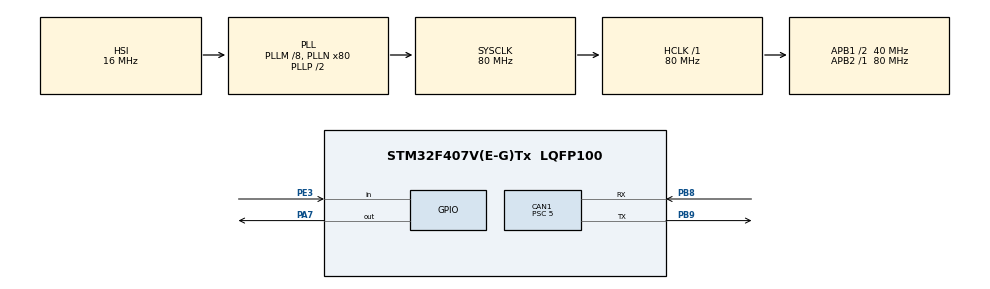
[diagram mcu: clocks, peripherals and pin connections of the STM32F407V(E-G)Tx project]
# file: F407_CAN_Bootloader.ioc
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CAN1.BS1=CAN_BS1_13TQ
CAN1.BS2=CAN_BS2_2TQ
CAN1.CalculateBaudRate=500000
CAN1.CalculateTimeBit=2000
CAN1.CalculateTimeQuantum=125.0
CAN1.NART=ENABLE
CAN1.Prescaler=5
Mcu.Family=STM32F4
Mcu.Name=STM32F407V(E-G)Tx
Mcu.Package=LQFP100
NVIC.CAN1_RX0_IRQn=true\:0\:0\:false\:false\:true\:true\:true\:true
NVIC.PriorityGroup=NVIC_PRIORITYGROUP_4
PA13.Mode=Serial_Wire
PA13.Signal=SYS_JTMS-SWDIO
PA14.Mode=Serial_Wire
PA14.Signal=SYS_JTCK-SWCLK
PA7.PinState=GPIO_PIN_SET
PA7.Signal=GPIO_Output
PB8.Mode=CAN_Activate
PB8.Signal=CAN1_RX
PB9.Mode=CAN_Activate
PB9.Signal=CAN1_TX
PE3.Signal=GPIO_Input
ProjectManager.HeapSize=0x200
ProjectManager.StackSize=0x400
ProjectManager.TargetToolchain=CMake
RCC.48MHZClocksFreq_Value=40000000
RCC.AHBFreq_Value=80000000
RCC.APB1CLKDivider=RCC_HCLK_DIV2
RCC.APB1Freq_Value=40000000
RCC.APB1TimFreq_Value=80000000
RCC.APB2Freq_Value=80000000
RCC.APB2TimFreq_Value=80000000
RCC.CortexFreq_Value=80000000
RCC.HCLKFreq_Value=80000000
RCC.HSE_VALUE=25000000
RCC.HSI_VALUE=16000000
RCC.LSE_VALUE=32768
RCC.PLLM=8
RCC.PLLN=80
RCC.SYSCLKFreq_VALUE=80000000
RCC.SYSCLKSource=RCC_SYSCLKSOURCE_PLLCLK
RCC.VCOOutputFreq_Value=160000000
board=custom

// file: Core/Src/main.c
/* USER CODE BEGIN Header */
/**
  ******************************************************************************
  * @file           : main.c
  * @brief          : Main program body
  ******************************************************************************
  * @attention
  *
  * Copyright (c) 2026 STMicroelectronics.
  * All rights reserved.
  *
  * This software is licensed under terms that can be found in the LICENSE file
  * in the root directory of this software component.
  * If no LICENSE file comes with this software, it is provided AS-IS.
  *
  ******************************************************************************
  */
/* USER CODE END Header */
#include "main.h"
#include "can.h"
#include "gpio.h"

/* USER CODE BEGIN Includes */
#include "Bootloader_can.h"
#include "Bootloader_uds.h"
/* USER CODE END Includes */

/* USER CODE BEGIN PTD */
/* 应用程序入口函数类型：无参数、无返回值 */
typedef void (*ApplicationEntryFunction)(void);
/* USER CODE END PTD */

/* USER CODE BEGIN PD */
#define APPLICATION_START_ADDRESS    0x08010000U
#define APPLICATION_END_ADDRESS      0x08060000U
#define APPLICATION_RAM_START        0x20000000U
#define APPLICATION_RAM_END          0x20020000U
/* 写入RTC备份寄存器的升级请求标志，十六进制对应ASCII字符“BOOT” */
#define BOOT_REQUEST_MAGIC           0x424F4F54U

/* USER CODE END PD */

void SystemClock_Config(void);
/* USER CODE BEGIN PFP */
static uint8_t Bootloader_IsApplicationValid(void);
static void Bootloader_JumpToApplication(void);
/* USER CODE END PFP */

int main(void)
{

  /* USER CODE BEGIN 1 */
  __HAL_RCC_PWR_CLK_ENABLE();//开启PWR外设时钟
  HAL_PWR_EnableBkUpAccess();//关闭备份域写保护，之后才允许写入备份寄存器
  uint8_t update_requested = 0U;
  if (RTC->BKP0R == BOOT_REQUEST_MAGIC) {//读取备份寄存器
    RTC->BKP0R = 0U;
    update_requested = 1U;
  }
  HAL_PWR_DisableBkUpAccess();//恢复备份域写保护，之后不允许写入备份寄存器
  /* 如果应用程序有效，就将控制权交给应用程序 */
  if (update_requested == 0U) {
     if (Bootloader_IsApplicationValid() != 0U)
    {
      Bootloader_JumpToApplication();
    }
  }

  /*
   * 如果应用程序无效，跳转函数不会执行，
   * 程序会继续向下初始化Bootloader。
   */
  /* USER CODE END 1 */

  /* MCU Configuration--------------------------------------------------------*/

  /* Reset of all peripherals, Initializes the Flash interface and the Systick. */
  HAL_Init();

  /* Configure the system clock */
  SystemClock_Config();

  /* Initialize all configured peripherals */
  MX_GPIO_Init();
  MX_CAN1_Init();
  /* USER CODE BEGIN 2 */
  if (Bootloader_CAN_Init(&hcan1) != HAL_OK)
  {
    Error_Handler();
  }
  /* USER CODE END 2 */

  /* Infinite loop */
  /* USER CODE BEGIN WHILE */
  while (1)
  {
    Bootloader_CAN_Process();
    /* USER CODE END WHILE */

  }
}

void SystemClock_Config(void)
{
  RCC_OscInitTypeDef RCC_OscInitStruct = {0};
  RCC_ClkInitTypeDef RCC_ClkInitStruct = {0};

  /** Configure the main internal regulator output voltage
  */
  __HAL_RCC_PWR_CLK_ENABLE();
  __HAL_PWR_VOLTAGESCALING_CONFIG(PWR_REGULATOR_VOLTAGE_SCALE1);

  /** Initializes the RCC Oscillators according to the specified parameters
  * in the RCC_OscInitTypeDef structure.
  */
  RCC_OscInitStruct.OscillatorType = RCC_OSCILLATORTYPE_HSI;
  RCC_OscInitStruct.HSIState = RCC_HSI_ON;
  RCC_OscInitStruct.HSICalibrationValue = RCC_HSICALIBRATION_DEFAULT;
  RCC_OscInitStruct.PLL.PLLState = RCC_PLL_ON;
  RCC_OscInitStruct.PLL.PLLSource = RCC_PLLSOURCE_HSI;
  RCC_OscInitStruct.PLL.PLLM = 8;
  RCC_OscInitStruct.PLL.PLLN = 80;
  RCC_OscInitStruct.PLL.PLLP = RCC_PLLP_DIV2;
  RCC_OscInitStruct.PLL.PLLQ = 4;
  if (HAL_RCC_OscConfig(&RCC_OscInitStruct) != HAL_OK)
  {
    Error_Handler();
  }

  /** Initializes the CPU, AHB and APB buses clocks
  */
  RCC_ClkInitStruct.ClockType = RCC_CLOCKTYPE_HCLK|RCC_CLOCKTYPE_SYSCLK
                              |RCC_CLOCKTYPE_PCLK1|RCC_CLOCKTYPE_PCLK2;
  RCC_ClkInitStruct.SYSCLKSource = RCC_SYSCLKSOURCE_PLLCLK;
  RCC_ClkInitStruct.AHBCLKDivider = RCC_SYSCLK_DIV1;
  RCC_ClkInitStruct.APB1CLKDivider = RCC_HCLK_DIV2;
  RCC_ClkInitStruct.APB2CLKDivider = RCC_HCLK_DIV1;

  if (HAL_RCC_ClockConfig(&RCC_ClkInitStruct, FLASH_LATENCY_2) != HAL_OK)
  {
    Error_Handler();
  }
}

/* USER CODE BEGIN 4 */
static void Bootloader_JumpToApplication(void)
{
  /* 读取应用程序向量表中的初始栈地址 */
  uint32_t initial_stack_pointer =
      *(const uint32_t *)APPLICATION_START_ADDRESS;

  /* 读取应用程序向量表中的Reset_Handler地址 */
  uint32_t reset_handler_address =
      *(const uint32_t *)(APPLICATION_START_ADDRESS + 4U);

  /* 把整数地址转换为可以调用的函数指针 */
  ApplicationEntryFunction application_entry =
      (ApplicationEntryFunction)reset_handler_address;
  /* 将中断向量表切换到应用程序所在地址 */
  /*
  *SCB：CMSIS 提供的宏，指向 Cortex-M4 的系统控制寄存器。
   VTOR：中断向量表地址寄存器。
   ->：通过指针访问结构体成员，SCB->VTOR 等价于 (*SCB).VTOR。
   */
  SCB->VTOR = APPLICATION_START_ADDRESS;
  /* 等待前面的寄存器和内存操作全部完成 */
  __DSB();//__DSB()：Data Synchronization Barrier，数据同步屏障。等待前面的内存和寄存器访问完成。

  /* 清空CPU已经预取的指令，按照新的系统状态继续执行 */
  __ISB();//Instruction Synchronization Barrier，指令同步屏障。丢弃已经预取的旧指令，让 CPU 按修改后的系统状态继续取指。
  /* 切换到应用程序自己的主栈 */
  __set_MSP(initial_stack_pointer);

  /* 进入应用程序的Reset_Handler */
  application_entry();

  /* 正常情况下Reset_Handler不会返回 */
  while (1)
  {
  }
}
static uint8_t Bootloader_IsApplicationValid(void)//检测是否存在有效应用程序
{
  //1.获取初始栈地址
  uint32_t initial_stack_pointer =
      *(const uint32_t *)APPLICATION_START_ADDRESS;
  //2.判断初始栈地址是否位于RAM内
  if (((initial_stack_pointer >= APPLICATION_RAM_START) &&
      (initial_stack_pointer <= APPLICATION_RAM_END)) != 1)
  {
    return 0U;
  }
  //3.读取Reset_Handler 地址
  uint32_t reset_Handler_Address =
    *(const uint32_t *)(APPLICATION_START_ADDRESS + 4U);
  //4.判断Reset_Handler最后一位是否为1
  if ((reset_Handler_Address & 1U) != 1) {
    return 0U;
  }
  //5.获取真正的代码地址
  uint32_t real_code_address = reset_Handler_Address & ~1U;
  //6.检查代码地址是否在应用程序范围之内
  if ((real_code_address < APPLICATION_END_ADDRESS &&
    real_code_address >= APPLICATION_START_ADDRESS) != 1 ) {
    return 0U;
  }
  //7.全部通过返回1
  return 1U;
}
/* USER CODE END 4 */

void Error_Handler(void)
{
  __disable_irq();
  while (1)
  {
  }
}
